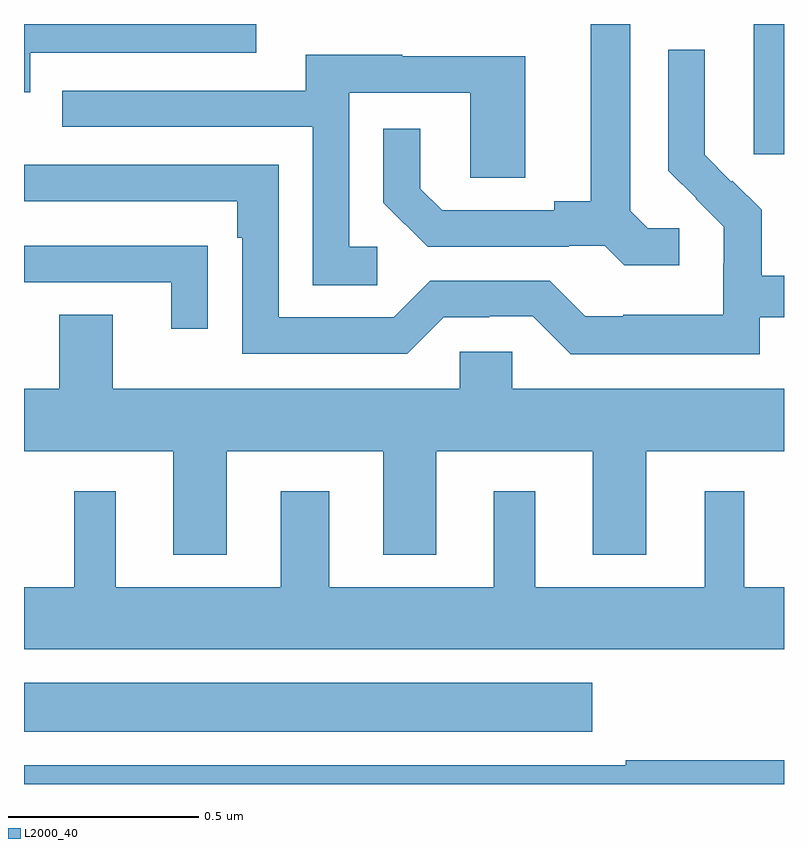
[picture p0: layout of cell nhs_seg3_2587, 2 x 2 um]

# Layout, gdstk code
import gdstk
lib = gdstk.Library(unit=1e-6, precision=1e-09)
def R(c, l, rs):  # rectangles x0, y0, x1, y1
    for r in rs: c.add(gdstk.rectangle(r[:2], r[2:], *l))
def P(c, l, *ps):  # polygons
    for p in ps: c.add(gdstk.Polygon(p, *l))
L2000_40 = (2000, 40)

nhs_seg3_2587 = lib.new_cell('nhs_seg3_2587')
R(nhs_seg3_2587, L2000_40, [(143,673.538,144.496,673.666), (144.92,675.057,145,675.4)])
P(nhs_seg3_2587, L2000_40, [(143.016,675.324),(143.611,675.324),(143.611,675.4),(143,675.4),(143,675.221),(143.016,675.221)],
  [(144.724,674.862),(144.642,674.862),(144.595,674.909),(144.595,675.4),(144.491,675.4),(144.491,674.933),(144.395,674.933),(144.395,674.91),(144.1,674.91),(144.043,674.967),(144.043,675.124),(143.946,675.124),(143.946,674.93),(144.062,674.814),(144.434,674.814),(144.434,674.817),(144.528,674.817),(144.58,674.765),(144.724,674.765)],
  [(144.936,674.628),(145,674.628),(145,674.737),(144.941,674.737),(144.941,674.911),(144.864,674.988),(144.861,674.985),(144.791,675.056),(144.791,675.178),(144.792,675.178),(144.792,675.332),(144.696,675.332),(144.696,675.014),(144.769,674.941),(144.768,674.94),(144.842,674.866),(144.842,674.769),(144.84,674.769),(144.84,674.635),(144.577,674.635),(144.577,674.631),(144.477,674.631),(144.384,674.724),(144.069,674.724),(143.973,674.628),(143.67,674.628),(143.67,675.03),(143,675.03),(143,674.934),(143.561,674.934),(143.561,674.837),(143.574,674.837),(143.574,674.532),(144.009,674.532),(144.105,674.628),(144.224,674.628),(144.224,674.631),(144.339,674.631),(144.439,674.531),(144.936,674.531)],
  [(143.929,674.814),(143.856,674.814),(143.856,675.219),(144.174,675.219),(144.174,674.995),(144.319,674.995),(144.319,675.315),(143.995,675.315),(143.995,675.319),(143.741,675.319),(143.741,675.225),(143.101,675.225),(143.101,675.129),(143.76,675.129),(143.76,674.713),(143.929,674.713)],
  [(143.483,674.816),(143.381,674.816),(143.381,674.817),(143,674.817),(143,674.721),(143.387,674.721),(143.387,674.598),(143.483,674.598)],
  [(143.533,674.276),(143.945,674.276),(143.945,674.003),(144.085,674.003),(144.085,674.276),(144.497,674.276),(144.497,674.003),(144.637,674.003),(144.637,674.276),(145,674.276),(145,674.44),(144.285,674.44),(144.285,674.538),(144.147,674.538),(144.147,674.44),(143.233,674.44),(143.233,674.635),(143.093,674.635),(143.093,674.44),(143,674.44),(143,674.276),(143.393,674.276),(143.393,674.003),(143.533,674.003)],
  [(145,673.918),(144.895,673.918),(144.895,674.17),(144.791,674.17),(144.791,673.918),(144.346,673.918),(144.346,674.17),(144.236,674.17),(144.236,673.918),(143.803,673.918),(143.803,674.17),(143.675,674.17),(143.675,673.918),(143.242,673.918),(143.242,674.17),(143.132,674.17),(143.132,673.918),(143,673.918),(143,673.754),(145,673.754)],
  [(145,673.462),(144.583,673.462),(144.583,673.449),(143,673.449),(143,673.4),(145,673.4)])

lib.write_gds('nhs_seg3_2587.gds')
